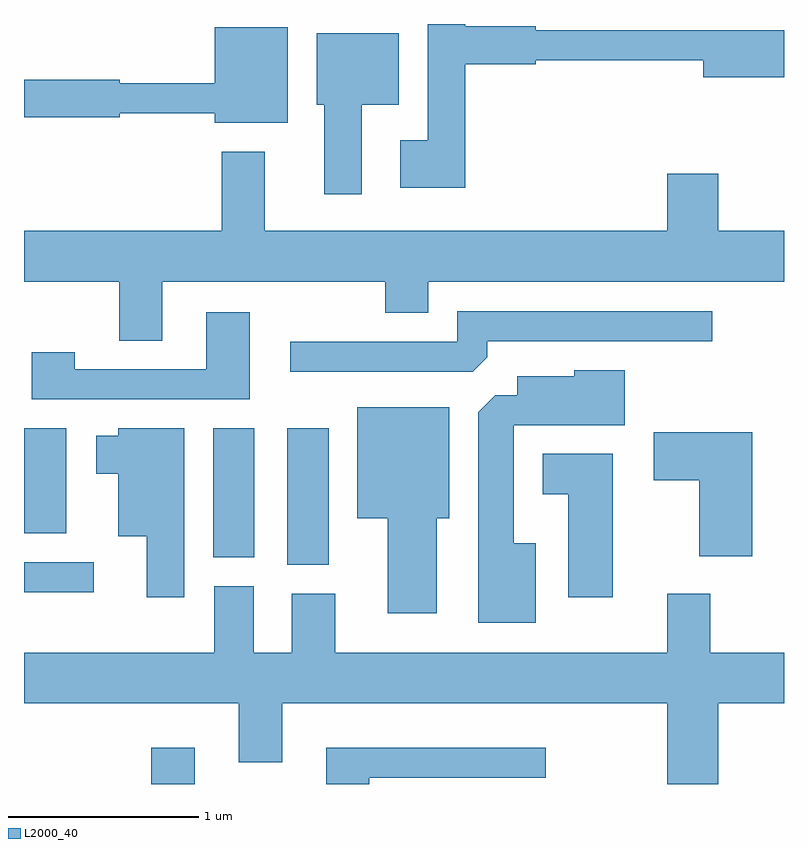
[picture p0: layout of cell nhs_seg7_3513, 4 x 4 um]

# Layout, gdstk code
import gdstk
lib = gdstk.Library(unit=1e-6, precision=1e-09)
def R(c, l, rs):  # rectangles x0, y0, x1, y1
    for r in rs: c.add(gdstk.rectangle(r[:2], r[2:], *l))
def P(c, l, *ps):  # polygons
    for p in ps: c.add(gdstk.Polygon(p, *l))
L2000_40 = (2000, 40)

nhs_seg7_3513 = lib.new_cell('nhs_seg7_3513')
R(nhs_seg7_3513, L2000_40, [(292.281,1798.252,292.509,1798.444), (291.611,1799.261,291.978,1799.419), (292.996,1799.406,293.214,1800.124), (292.606,1799.446,292.824,1800.124), (291.611,1799.571,291.834,1800.124)])
P(nhs_seg7_3513, L2000_40, [(293.934,1802.041),(294.304,1802.041),(294.304,1802.061),(295.186,1802.061),(295.186,1801.971),(295.611,1801.971),(295.611,1802.219),(294.304,1802.219),(294.304,1802.239),(293.934,1802.239),(293.934,1802.252),(293.736,1802.252),(293.736,1801.639),(293.591,1801.639),(293.591,1801.391),(293.934,1801.391)],
  [(292.999,1802.234),(292.616,1802.234),(292.616,1801.939),(292.114,1801.939),(292.114,1801.959),(291.611,1801.959),(291.611,1801.761),(292.114,1801.761),(292.114,1801.781),(292.616,1801.781),(292.616,1801.731),(292.999,1801.731)],
  [(293.389,1801.826),(293.584,1801.826),(293.584,1802.204),(293.151,1802.204),(293.151,1801.826),(293.191,1801.826),(293.191,1801.356),(293.389,1801.356)],
  [(292.339,1800.896),(293.511,1800.896),(293.511,1800.731),(293.739,1800.731),(293.739,1800.896),(295.611,1800.896),(295.611,1801.164),(295.264,1801.164),(295.264,1801.464),(294.996,1801.464),(294.996,1801.164),(292.879,1801.164),(292.879,1801.579),(292.651,1801.579),(292.651,1801.164),(291.611,1801.164),(291.611,1800.896),(292.111,1800.896),(292.111,1800.586),(292.339,1800.586)],
  [(294.049,1800.497),(294.049,1800.581),(295.233,1800.581),(295.233,1800.739),(293.891,1800.739),(293.891,1800.579),(293.013,1800.579),(293.013,1800.421),(293.974,1800.421)],
  [(292.799,1800.734),(292.571,1800.734),(292.571,1800.434),(291.879,1800.434),(291.879,1800.524),(291.651,1800.524),(291.651,1800.276),(292.799,1800.276)],
  [(294.304,1799.519),(294.189,1799.519),(294.189,1800.141),(294.774,1800.141),(294.774,1800.429),(294.506,1800.429),(294.506,1800.399),(294.206,1800.399),(294.206,1800.299),(294.092,1800.299),(294.001,1800.209),(294.001,1799.101),(294.304,1799.101)],
  [(293.784,1799.651),(293.849,1799.651),(293.849,1800.234),(293.366,1800.234),(293.366,1799.651),(293.526,1799.651),(293.526,1799.151),(293.784,1799.151)],
  [(292.454,1800.124),(292.106,1800.124),(292.106,1800.084),(291.991,1800.084),(291.991,1799.886),(292.106,1799.886),(292.106,1799.556),(292.256,1799.556),(292.256,1799.236),(292.454,1799.236)],
  [(295.444,1800.104),(294.926,1800.104),(294.926,1799.851),(295.166,1799.851),(295.166,1799.451),(295.444,1799.451)],
  [(294.709,1799.989),(294.341,1799.989),(294.341,1799.776),(294.476,1799.776),(294.476,1799.236),(294.709,1799.236)],
  [(295.264,1798.676),(295.611,1798.676),(295.611,1798.944),(295.224,1798.944),(295.224,1799.254),(294.996,1799.254),(294.996,1798.944),(293.249,1798.944),(293.249,1799.254),(293.021,1799.254),(293.021,1798.944),(292.819,1798.944),(292.819,1799.294),(292.611,1799.294),(292.611,1798.944),(291.611,1798.944),(291.611,1798.676),(292.741,1798.676),(292.741,1798.366),(292.969,1798.366),(292.969,1798.676),(294.996,1798.676),(294.996,1798.252),(295.264,1798.252)],
  [(293.429,1798.286),(294.358,1798.286),(294.358,1798.444),(293.201,1798.444),(293.201,1798.252),(293.429,1798.252)])

lib.write_gds('nhs_seg7_3513.gds')
